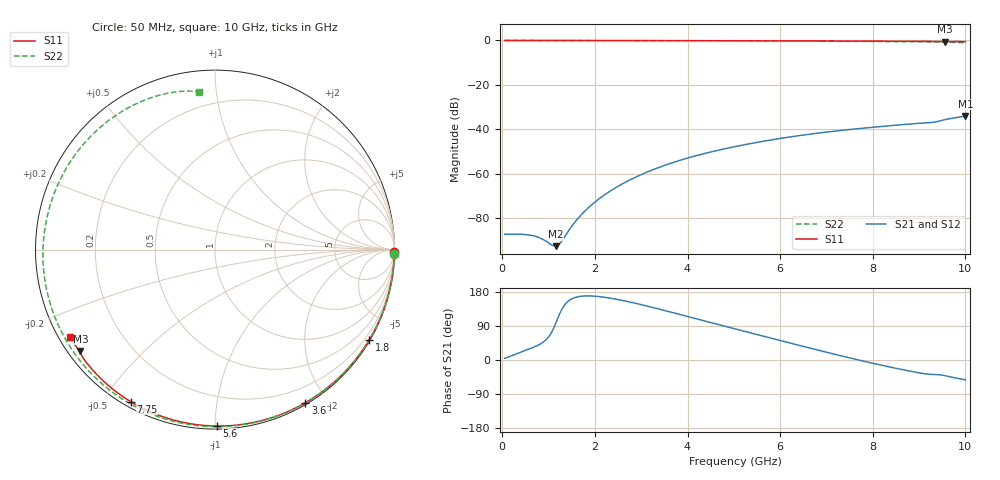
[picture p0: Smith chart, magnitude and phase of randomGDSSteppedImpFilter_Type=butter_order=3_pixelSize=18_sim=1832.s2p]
! freq	dB(S11)	phase(S11)	dB(S12)	phase(S12)
!  dB(S21)	phase(S21)	dB(S22)	phase(S22)
!S-par simulation data
#  GHz  S  DB  R 50
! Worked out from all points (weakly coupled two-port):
!   200 points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, 50 MHz to 10 GHz, reference 50 ohm
!   highest |S21| = -34.07 dB at 10 GHz (marker M1); lowest = -92.8 dB at 1.15 GHz (marker M2)
!   lowest |S11| = -0.6 dB at 9.55 GHz (marker M3), VSWR 31.51, Z = 1.76 - j16.7 ohm
!   |S11| at or under -10 dB: nowhere
!   |S22| runs from -1.1 to 0.0 dB; largest |S21 - S12| = 0
!   S11 on the Smith chart (normalised r, x): 50 MHz: open; 1.8 GHz: 0.03, -3.67; 3.6 GHz: 0.02, -1.75; 5.6 GHz: 0.02, -1.01; 7.75 GHz: 0.02, -0.59; 10 GHz: 0.03, -0.28
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0.05  -0.00 -0.9  -87.42 4.4  -87.42 4.4  -0.00 -1.4
0.6  -0.01 -10.3  -87.79 30.1  -87.79 30.1  -0.01 -16.6
1.15  -0.02 -19.6  -92.76 95.4  -92.76 95.4  -0.04 -31.5
1.65  -0.04 -28.0  -79.84 167.3  -79.84 167.3  -0.06 -44.8
1.75  -0.04 -29.7  -77.59 168.8  -77.59 168.8  -0.06 -47.4
1.8  -0.04 -30.5  -76.55 169.1  -76.55 169.1  -0.06 -48.7
2.1  -0.05 -35.4  -71.25 167.2  -71.25 167.2  -0.07 -56.5
2.5  -0.05 -42.0  -65.77 159.5  -65.77 159.5  -0.08 -66.6
2.9  -0.06 -48.4  -61.44 149.0  -61.44 149.0  -0.10 -76.6
3.4  -0.07 -56.3  -57.11 134.0  -57.11 134.0  -0.11 -88.8
3.6  -0.08 -59.5  -55.64 127.7  -55.64 127.7  -0.12 -93.5
4.3  -0.10 -70.2  -51.33 105.2  -51.33 105.2  -0.15 -109.9
5.05  -0.13 -81.4  -47.76 81.3  -47.76 81.3  -0.19 -127.1
5.6  -0.15 -89.3  -45.59 64.0  -45.59 64.0  -0.22 -139.5
6.7  -0.20 -104.7  -42.10 29.7  -42.10 29.7  -0.31 -164.9
7.25  -0.24 -112.3  -40.72 13.0  -40.72 13.0  -0.36 -178.2
7.75  -0.28 -119.0  -39.64 -1.6  -39.64 -1.6  -0.42 169.1
8.35  -0.33 -127.0  -38.48 -18.0  -38.48 -18.0  -0.49 152.8
8.95  -0.38 -135.1  -37.43 -32.8  -37.43 -32.8  -0.58 134.8
9.3  -0.43 -139.9  -36.94 -38.1  -36.94 -38.1  -0.65 123.2
9.55  -0.55 -143.0  -35.73 -41.2  -35.73 -41.2  -0.73 114.3
10  -0.52 -148.9  -34.07 -52.3  -34.07 -52.3  -1.06 95.9
